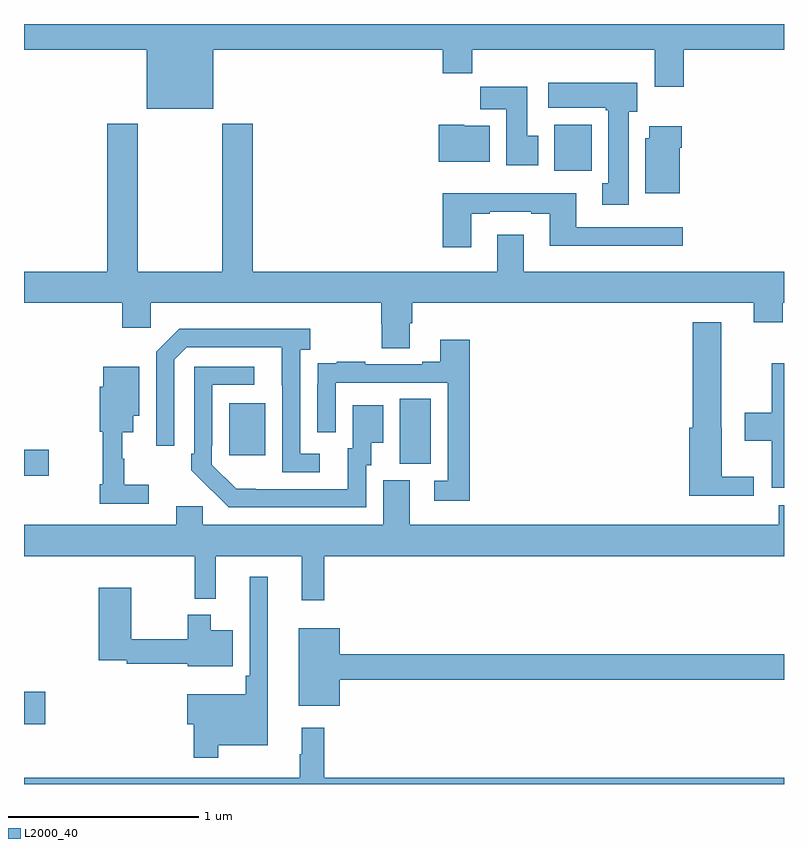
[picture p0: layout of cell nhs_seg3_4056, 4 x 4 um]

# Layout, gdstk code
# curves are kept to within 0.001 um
import gdstk
lib = gdstk.Library(unit=1e-6, precision=1e-09)
def R(c, l, rs):  # rectangles x0, y0, x1, y1
    for r in rs: c.add(gdstk.rectangle(r[:2], r[2:], *l))
def P(c, l, *ps):  # polygons
    for p in ps: c.add(gdstk.Polygon(p, *l))
L2000_40 = (2000, 40)

nhs_seg3_4056 = lib.new_cell('nhs_seg3_4056')
R(nhs_seg3_4056, L2000_40, [(325,682.715,325.111,682.886), (325,684.023,325.129,684.158), (326.978,684.085,327.142,684.428), (326.081,684.129,326.269,684.403), (327.791,685.628,327.988,685.87)])
P(nhs_seg3_4056, L2000_40, [(325,686.264),(325.646,686.264),(325.646,685.955),(325.996,685.955),(325.996,686.264),(327.203,686.264),(327.203,686.14),(327.359,686.14),(327.359,686.264),(328.319,686.264),(328.319,686.07),(328.472,686.07),(328.472,686.264),(329,686.264),(329,686.4),(325,686.4)],
  [(328.183,685.938),(328.228,685.938),(328.228,686.092),(327.759,686.092),(327.759,685.958),(328.063,685.958),(328.063,685.945),(328.076,685.945),(328.076,685.562),(328.043,685.562),(328.043,685.449),(328.183,685.449)],
  [(327.706,685.812),(327.649,685.812),(327.649,686.071),(327.4,686.071),(327.4,685.952),(327.539,685.952),(327.539,685.656),(327.706,685.656)],
  [(327.031,684.826),(327.044,684.826),(327.044,684.932),(328.841,684.932),(328.841,684.83),(328.994,684.83),(328.994,684.932),(329,684.932),(329,685.096),(327.631,685.096),(327.631,685.291),(327.491,685.291),(327.491,685.096),(326.204,685.096),(326.204,685.876),(326.044,685.876),(326.044,685.096),(325.599,685.096),(325.599,685.876),(325.439,685.876),(325.439,685.096),(325,685.096),(325,684.932),(325.517,684.932),(325.517,684.801),(325.668,684.801),(325.668,684.932),(326.879,684.932),(326.879,684.819),(326.884,684.819),(326.884,684.694),(327.031,684.694)],
  [(327.451,685.864),(327.318,685.864),(327.318,685.87),(327.182,685.87),(327.182,685.676),(327.451,685.676)],
  [(328.45,685.748),(328.463,685.748),(328.463,685.861),(328.292,685.861),(328.292,685.8),(328.271,685.8),(328.271,685.508),(328.45,685.508)],
  [(327.355,685.401),(327.451,685.401),(327.451,685.413),(327.671,685.413),(327.671,685.401),(327.767,685.401),(327.767,685.232),(328.468,685.232),(328.468,685.329),(327.907,685.329),(327.907,685.51),(327.203,685.51),(327.203,685.224),(327.355,685.224)],
  [(328.84,684.017),(328.672,684.017),(328.672,684.276),(328.669,684.276),(328.669,684.829),(328.52,684.829),(328.52,684.276),(328.502,684.276),(328.502,683.918),(328.84,683.918)],
  [(326.557,684.138),(326.454,684.138),(326.454,684.686),(326.506,684.686),(326.506,684.796),(325.816,684.796),(325.695,684.675),(325.695,684.18),(325.791,684.18),(325.791,684.633),(325.857,684.699),(326.357,684.699),(326.358,684.042),(326.557,684.042)],
  [(327.347,684.739),(327.191,684.739),(327.191,684.622),(327.095,684.622),(327.095,684.609),(326.795,684.609),(326.795,684.622),(326.647,684.622),(326.647,684.615),(326.545,684.615),(326.545,684.506),(326.544,684.506),(326.544,684.252),(326.64,684.252),(326.64,684.513),(327.231,684.513),(327.231,683.997),(327.159,683.997),(327.159,683.892),(327.347,683.892)],
  [(329,684.614),(328.936,684.614),(328.936,684.354),(328.794,684.354),(328.794,684.206),(328.936,684.206),(328.936,683.958),(329,683.958)],
  [(326.802,684.078),(326.827,684.078),(326.827,684.197),(326.89,684.197),(326.89,684.394),(326.729,684.394),(326.729,684.168),(326.705,684.168),(326.705,683.952),(326.118,683.953),(325.989,684.081),(325.989,684.181),(325.992,684.181),(325.992,684.501),(326.212,684.501),(326.212,684.597),(325.896,684.597),(325.896,684.139),(325.881,684.139),(325.881,684.051),(326.078,683.856),(326.802,683.856)],
  [(325.657,683.975),(325.528,683.975),(325.528,684.111),(325.517,684.111),(325.517,684.251),(325.576,684.251),(325.576,684.338),(325.606,684.338),(325.606,684.595),(325.418,684.595),(325.418,684.491),(325.399,684.491),(325.399,684.255),(325.414,684.255),(325.414,683.977),(325.399,683.977),(325.399,683.874),(325.657,683.874)],
  [(326.579,683.6),(329,683.6),(329,683.866),(328.973,683.866),(328.973,683.764),(327.031,683.764),(327.031,684),(326.891,684),(326.891,683.764),(325.941,683.764),(325.941,683.862),(325.802,683.862),(325.802,683.764),(325,683.764),(325,683.6),(325.899,683.6),(325.899,683.375),(326.009,683.375),(326.009,683.6),(326.462,683.6),(326.462,683.367),(326.579,683.367)],
  [(326.023,682.604),(326.284,682.604),(326.284,683.491),(326.187,683.491),(326.187,682.969),(326.167,682.969),(326.167,682.873),(325.86,682.873),(325.86,682.715),(325.894,682.715),(325.894,682.539),(326.023,682.539)],
  [(326.098,683.209),(325.984,683.209),(325.984,683.29),(325.862,683.29),(325.862,683.161),(325.564,683.161),(325.564,683.434),(325.394,683.434),(325.394,683.052),(325.54,683.052),(325.54,683.032),(325.862,683.032),(325.862,683.021),(326.098,683.021)],
  [(326.662,682.948),(329,682.948),(329,683.084),(326.662,683.084),(326.662,683.221),(326.447,683.221),(326.447,682.811),(326.662,682.811)],
  [(329,682.432),(326.579,682.432),(326.579,682.696),(326.462,682.696),(326.462,682.556),(326.451,682.556),(326.451,682.432),(325,682.432),(325,682.4),(329,682.4)])

lib.write_gds('nhs_seg3_4056.gds')
